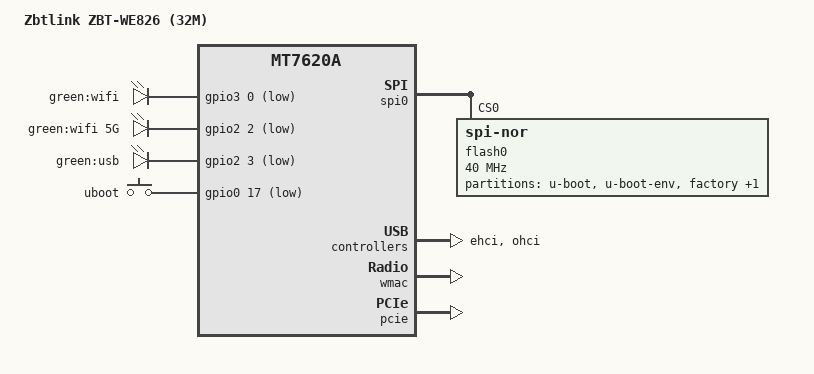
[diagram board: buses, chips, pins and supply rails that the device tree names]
#include "mt7620a.dtsi"

#include <dt-bindings/gpio/gpio.h>
#include <dt-bindings/input/input.h>
#include <dt-bindings/leds/common.h>

/ {
	compatible = "zbtlink,zbt-we826-32m", "ralink,mt7620a-soc";
	model = "Zbtlink ZBT-WE826 (32M)";

	chosen {
		bootargs = "console=ttyS0,115200";
	};

	pinctrl {
		state_default: pinctrl0 {
			gpio {
				ralink,group = "wled", "jtag";
				ralink,function = "gpio";
			};
		};
	};

	leds {
		compatible = "gpio-leds";

		air {
			label = "green:wifi";
			gpios = <&gpio3 0 GPIO_ACTIVE_LOW>;
			linux,default-trigger = "phy0tx";
		};

		air_5G {
			label = "green:wifi 5G";
			gpios = <&gpio2 2 GPIO_ACTIVE_LOW>;
			linux,default-trigger = "phy1tx";
		};

		usb {
			label = "green:usb";
			gpios = <&gpio2 3 GPIO_ACTIVE_LOW>;
			linux,default-trigger = "usbport";
			trigger-sources = <&ohci_port1>, <&ehci_port1>;
		};
	};

	keys {
		compatible = "gpio-keys-polled";
		poll-interval = <20>;

		uboot {
			label = "uboot";
			gpios = <&gpio0 17 GPIO_ACTIVE_LOW>;
			linux,code = <KEY_RESTART>;
		};
	};
};

&spi0 {
	status = "okay";

	flash0: flash@0 {
		compatible = "jedec,spi-nor";
		reg = <0>;
		spi-max-frequency = <40000000>;
		broken-flash-reset;
		m25p,fast-read;

		partitions {
			compatible = "fixed-partitions";
			#address-cells = <1>;
			#size-cells = <1>;

			partition@0 {
				label = "u-boot";
				reg = <0x0 0x30000>;
				read-only;
			};

			partition@30000 {
				label = "u-boot-env";
				reg = <0x30000 0x10000>;
				read-only;
			};

			partition@40000 {
				label = "factory";
				reg = <0x40000 0x10000>;
				read-only;

				nvmem-layout {
					compatible = "fixed-layout";
					#address-cells = <1>;
					#size-cells = <1>;

					eeprom_factory_0: eeprom@0 {
						reg = <0x0 0x200>;
					};

					macaddr_factory_4: macaddr@4 {
						reg = <0x4 0x6>;
					};
				};
			};

			firmware: partition@50000 {
				compatible = "denx,uimage";
				label = "firmware";
				reg = <0x50000 0x1fb0000>;
			};
		};
	};
};

&ehci {
	status = "okay";
};

&ohci {
	status = "okay";
};

&ethernet {
	nvmem-cells = <&macaddr_factory_4>;
	nvmem-cell-names = "mac-address";
	mediatek,portmap = "llllw";
};

&wmac {
	nvmem-cells = <&eeprom_factory_0>;
	nvmem-cell-names = "eeprom";
};

&pcie {
	status = "okay";
};

&gpio1 {
	status = "okay";
};

&gpio2 {
	status = "okay";
};

&gpio3 {
	status = "okay";
};
